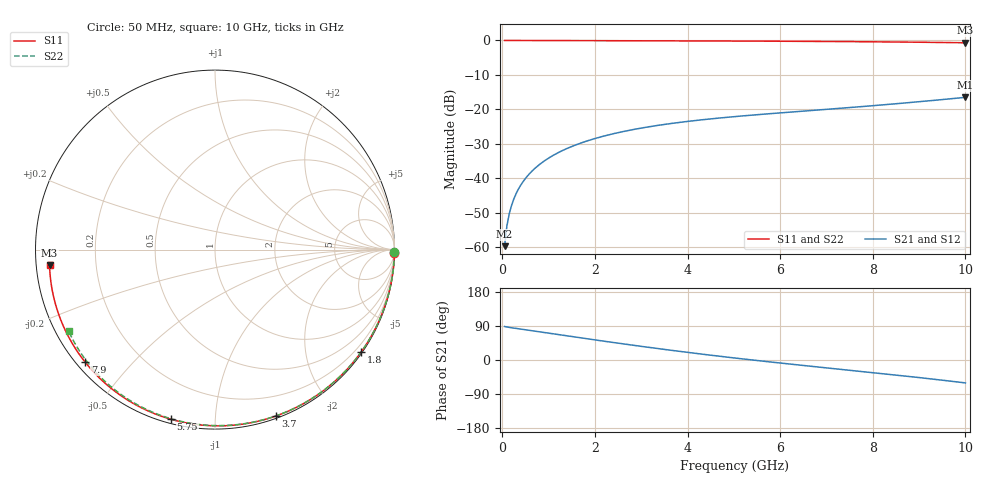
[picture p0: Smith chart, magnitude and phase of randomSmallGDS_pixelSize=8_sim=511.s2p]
! freq	dB(S11)	phase(S11)	dB(S12)	phase(S12)
!  dB(S21)	phase(S21)	dB(S22)	phase(S22)
!S-par simulation data
#  GHz  S  DB  R 50
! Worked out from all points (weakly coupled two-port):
!   200 points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, 50 MHz to 10 GHz, reference 50 ohm
!   highest |S21| = -16.54 dB at 10 GHz (marker M1); lowest = -59.8 dB at 50 MHz (marker M2)
!   lowest |S11| = -0.7 dB at 10 GHz (marker M3), VSWR 26.02, Z = 1.93 - j2.36 ohm
!   |S11| at or under -10 dB: nowhere
!   |S22| runs from -0.6 to 0.0 dB; largest |S21 - S12| = 0
!   S11 on the Smith chart (normalised r, x): 50 MHz: open; 1.8 GHz: 0.03, -3.16; 3.7 GHz: 0.02, -1.43; 5.75 GHz: 0.02, -0.77; 7.9 GHz: 0.02, -0.37; 10 GHz: 0.04, -0.05
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0.05  -0.00 -1.0  -59.78 88.4  -59.78 88.4  -0.00 -0.9
0.1  -0.00 -2.0  -53.83 87.0  -53.83 87.0  -0.00 -1.8
0.15  -0.00 -3.0  -50.38 86.0  -50.38 86.0  -0.00 -2.7
0.2  -0.00 -4.0  -47.93 85.1  -47.93 85.1  -0.00 -3.6
0.35  -0.01 -6.9  -43.16 82.6  -43.16 82.6  -0.00 -6.2
0.5  -0.01 -9.9  -40.10 80.0  -40.10 80.0  -0.01 -8.9
0.7  -0.02 -13.8  -37.22 76.4  -37.22 76.4  -0.01 -12.4
1  -0.03 -19.7  -34.19 71.0  -34.19 71.0  -0.02 -17.7
1.35  -0.04 -26.5  -31.68 64.7  -31.68 64.7  -0.03 -23.8
1.75  -0.05 -34.1  -29.56 57.5  -29.56 57.5  -0.04 -30.7
1.8  -0.05 -35.1  -29.34 56.6  -29.34 56.6  -0.04 -31.5
2.6  -0.07 -50.1  -26.50 42.7  -26.50 42.7  -0.07 -45.0
3.4  -0.10 -64.6  -24.60 29.5  -24.60 29.5  -0.09 -58.1
3.7  -0.11 -69.9  -24.03 24.8  -24.03 24.8  -0.10 -62.8
4.35  -0.14 -81.2  -23.00 14.9  -23.00 14.9  -0.12 -72.9
5.05  -0.17 -93.0  -22.09 4.8  -22.09 4.8  -0.15 -83.5
5.75  -0.20 -104.5  -21.31 -4.7  -21.31 -4.7  -0.18 -93.6
6.7  -0.27 -119.8  -20.33 -17.0  -20.33 -17.0  -0.24 -106.9
7.9  -0.38 -139.0  -19.07 -32.0  -19.07 -32.0  -0.34 -123.1
8.35  -0.43 -146.3  -18.57 -37.8  -18.57 -37.8  -0.38 -129.0
9.2  -0.54 -160.5  -17.56 -49.1  -17.56 -49.1  -0.48 -140.2
10  -0.67 -174.6  -16.54 -60.5  -16.54 -60.5  -0.60 -150.8
